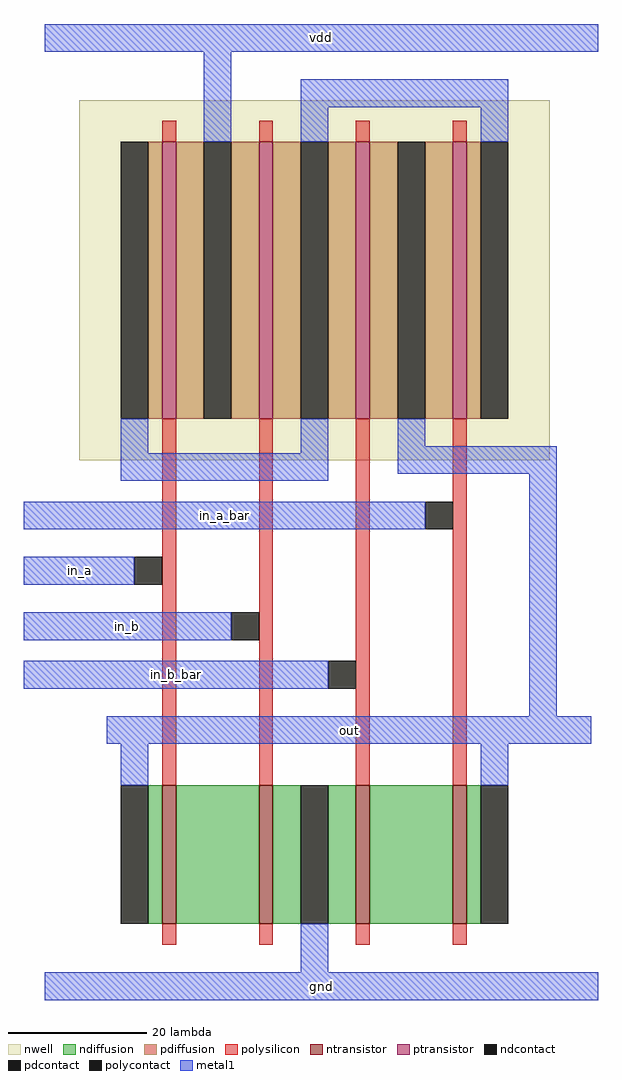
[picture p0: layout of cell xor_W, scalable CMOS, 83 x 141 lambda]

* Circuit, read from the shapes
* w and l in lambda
.subckt xor_W gnd in_a in_a_bar in_b in_b_bar out vdd
M1 n1 in_a out VSUBS nfet w=20 l=2
M2 gnd in_b n1 VSUBS nfet w=20 l=2
M3 n2 in_b_bar gnd VSUBS nfet w=20 l=2
M4 out in_a_bar n2 VSUBS nfet w=20 l=2
M5 vdd in_a n3 n4 pfet w=40 l=2
M6 n3 in_b vdd n4 pfet w=40 l=2
M7 out in_b_bar n3 n4 pfet w=40 l=2
M8 n3 in_a_bar out n4 pfet w=40 l=2
.ends

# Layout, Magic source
magic
tech scmos
<< nwell >>
rect -19 -11 49 41
<< ntransistor >>
rect -7 -78 -5 -58
rect 7 -78 9 -58
rect 21 -78 23 -58
rect 35 -78 37 -58
<< ptransistor >>
rect -7 -5 -5 35
rect 7 -5 9 35
rect 21 -5 23 35
rect 35 -5 37 35
<< ndiffusion >>
rect -9 -78 -7 -58
rect -5 -78 7 -58
rect 9 -78 13 -58
rect 17 -78 21 -58
rect 23 -78 35 -58
rect 37 -78 39 -58
<< pdiffusion >>
rect -9 -5 -7 35
rect -5 -5 -1 35
rect 3 -5 7 35
rect 9 -5 13 35
rect 17 -5 21 35
rect 23 -5 27 35
rect 31 -5 35 35
rect 37 -5 39 35
<< ndcontact >>
rect -13 -78 -9 -58
rect 13 -78 17 -58
rect 39 -78 43 -58
<< pdcontact >>
rect -13 -5 -9 35
rect -1 -5 3 35
rect 13 -5 17 35
rect 27 -5 31 35
rect 39 -5 43 35
<< polysilicon >>
rect -7 35 -5 38
rect 7 35 9 38
rect 21 35 23 38
rect 35 35 37 38
rect -7 -58 -5 -5
rect 7 -58 9 -5
rect 21 -58 23 -5
rect 35 -58 37 -5
rect -7 -81 -5 -78
rect 7 -81 9 -78
rect 21 -81 23 -78
rect 35 -81 37 -78
<< polycontact >>
rect -11 -29 -7 -25
rect 3 -37 7 -33
rect 17 -44 21 -40
rect 31 -21 35 -17
<< metal1 >>
rect -24 48 56 52
rect -1 35 3 48
rect 13 40 43 44
rect 13 35 17 40
rect 39 35 43 40
rect -13 -10 -9 -5
rect 13 -10 17 -5
rect -13 -14 17 -10
rect 27 -9 31 -5
rect 27 -13 50 -9
rect -27 -21 31 -17
rect -27 -29 -11 -25
rect -27 -37 3 -33
rect -27 -44 17 -40
rect 46 -48 50 -13
rect -15 -52 55 -48
rect -13 -58 -9 -52
rect 39 -58 43 -52
rect 13 -85 17 -78
rect -24 -89 56 -85
<< labels >>
rlabel metal1 -24 48 56 52 5 vdd
rlabel metal1 -24 -89 56 -85 1 gnd
rlabel metal1 -15 -52 55 -48 1 out
rlabel metal1 -27 -21 31 -17 1 in_a_bar
rlabel metal1 -27 -29 -11 -25 1 in_a
rlabel metal1 -27 -37 3 -33 1 in_b
rlabel metal1 -27 -44 17 -40 1 in_b_bar
<< end >>
